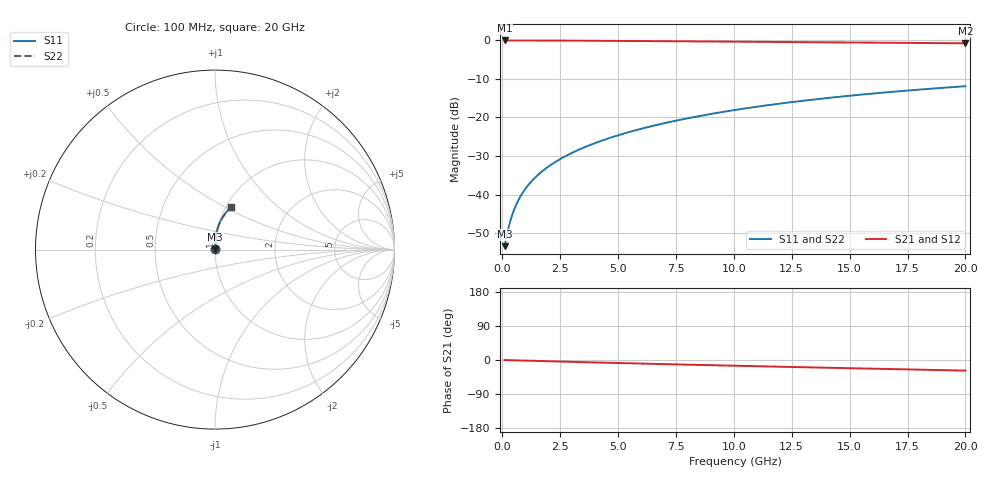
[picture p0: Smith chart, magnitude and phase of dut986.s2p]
! Touchstone file exported from HFSS 2024.1.0
!  File:  C:/UserFiles/LocalFiles/RDL_TSV_Batchsim/temp_RDL_top_986_1779939438.aedt
!  Generated:  11:39:42 AM May 28, 2026
!  Design:  RDL_top
!  Project:  temp_RDL_top_986_1779939438
!  Setup:  Setup1
!  Solution:  Sweep
! Variables:
!  dtsv = 10.80580581um
!  hbump = 3um
!  htsv = 59.23um
!  ldown = 100um
!  lrdl = 416.05um
!  p = 40
!  p1 = 42.44um
!  rhole = 1um
!  t = 450um
!  tdown = 3.915915916um
!  trdl = 4.55um
!  wdown = 15.38538539um
!  wrdl = 20.99um
# GHz S MA R 50.000000
! Terminal data exported
! Port[1] = Box2_T1
! Port[2] = Box2_T2
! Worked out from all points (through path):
!   200 points, 100 MHz to 20 GHz, reference 50 ohm
!   highest |S21| = -0.01 dB at 100 MHz (marker M1); lowest = -0.8 dB at 20 GHz (marker M2)
!   group delay of S21, straight-line fit = 3.84 ps
!   lowest |S11| = -53.4 dB at 100 MHz (marker M3), VSWR 1.00, Z = 50.2 + j0.128 ohm
!   |S11| at or under -10 dB: start of sweep to end of sweep
!   |S22| runs from -53.4 to -11.9 dB; largest |S21 - S12| = 4.1e-15
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0.1  0.002137 36.7  0.9983 -0.2  0.9983 -0.2  0.002137 36.7
! Gamma 0 0 0 0
! Port Impedance 50 0 50 0
0.2  0.003002 56.3  0.9982 -0.3  0.9982 -0.3  0.002999 56.3
0.3  0.004032 66.0  0.998 -0.5  0.998 -0.5  0.004027 66.0
0.4  0.005124 71.3  0.9979 -0.7  0.9979 -0.7  0.005117 71.2
0.5  0.006242 74.5  0.9978 -0.8  0.9978 -0.8  0.006235 74.5
0.6  0.007371 76.7  0.9977 -1.0  0.9977 -1.0  0.007364 76.7
0.8  0.009639 79.3  0.9975 -1.3  0.9975 -1.3  0.009632 79.3
1.1  0.01303 81.5  0.9971 -1.8  0.9971 -1.8  0.01302 81.5
1.5  0.01753 83.2  0.9965 -2.5  0.9965 -2.5  0.01753 83.2
1.8  0.0209 84.0  0.9959 -3.0  0.9959 -3.0  0.0209 84.0
2.1  0.02429 84.6  0.9953 -3.4  0.9953 -3.4  0.02429 84.6
2.7  0.03114 85.5  0.9938 -4.4  0.9938 -4.4  0.03114 85.5
3.5  0.04048 86.2  0.9913 -5.7  0.9913 -5.7  0.04048 86.2
4.2  0.04887 86.5  0.9887 -6.8  0.9887 -6.8  0.04887 86.5
5  0.0587 86.5  0.9856 -8.0  0.9856 -8.0  0.0587 86.5
6.8  0.08166 85.7  0.9778 -10.6  0.9778 -10.6  0.08167 85.7
8.4  0.1028 84.3  0.9705 -12.9  0.9705 -12.9  0.1028 84.3
10.1  0.1257 82.4  0.9627 -15.2  0.9627 -15.2  0.1257 82.4
11.7  0.1474 80.4  0.9553 -17.4  0.9553 -17.4  0.1474 80.4
13.4  0.1702 78.1  0.9475 -19.6  0.9475 -19.6  0.1702 78.2
16.7  0.2134 73.6  0.9323 -23.9  0.9323 -23.9  0.2134 73.6
20  0.2543 69.0  0.917 -28.0  0.917 -28.0  0.2543 69.0
